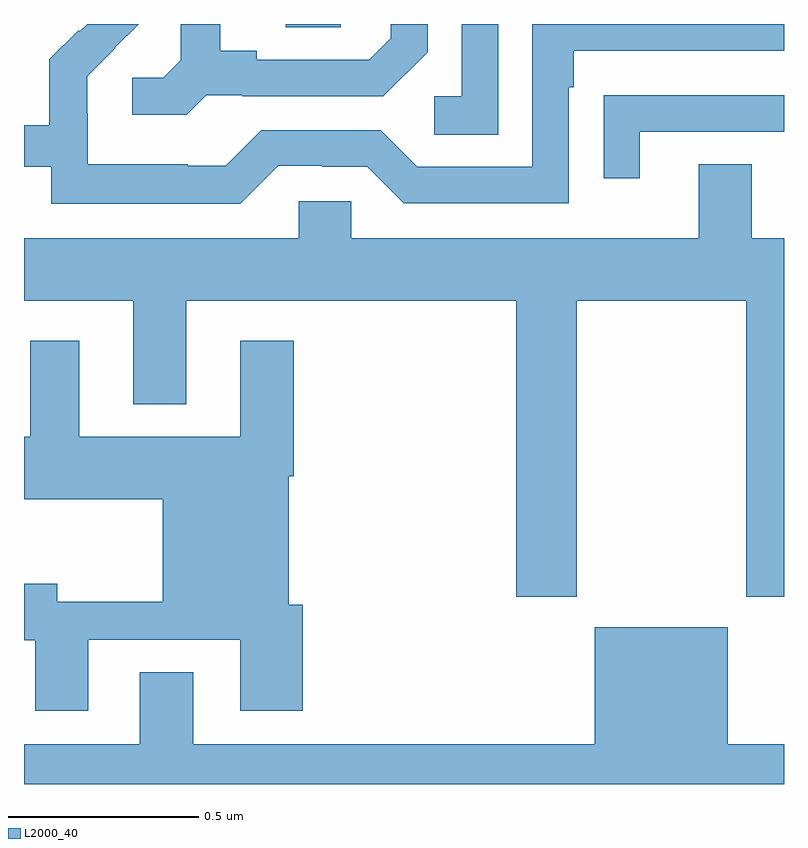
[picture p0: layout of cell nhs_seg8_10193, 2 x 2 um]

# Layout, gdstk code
import gdstk
lib = gdstk.Library(unit=1e-6, precision=1e-09)
def R(c, l, rs):  # rectangles x0, y0, x1, y1
    for r in rs: c.add(gdstk.rectangle(r[:2], r[2:], *l))
def P(c, l, *ps):  # polygons
    for p in ps: c.add(gdstk.Polygon(p, *l))
L2000_40 = (2000, 40)

nhs_seg8_10193 = lib.new_cell('nhs_seg8_10193')
R(nhs_seg8_10193, L2000_40, [(246.689,1111.891,246.834,1111.9)])
P(nhs_seg8_10193, L2000_40, [(247.248,1111.9),(247.152,1111.9),(247.152,1111.71),(247.08,1111.71),(247.08,1111.609),(247.248,1111.609)],
  [(246.48,1111.713),(246.574,1111.713),(246.574,1111.71),(246.946,1111.71),(247.062,1111.826),(247.062,1111.9),(246.965,1111.9),(246.965,1111.863),(246.908,1111.806),(246.613,1111.806),(246.613,1111.829),(246.517,1111.829),(246.517,1111.9),(246.413,1111.9),(246.413,1111.805),(246.366,1111.758),(246.285,1111.758),(246.285,1111.661),(246.428,1111.661)],
  [(246.669,1111.527),(246.785,1111.527),(246.785,1111.524),(246.903,1111.524),(246.999,1111.428),(247.434,1111.428),(247.434,1111.733),(247.447,1111.733),(247.447,1111.83),(248,1111.83),(248,1111.9),(247.338,1111.9),(247.338,1111.524),(247.035,1111.524),(246.939,1111.62),(246.624,1111.62),(246.531,1111.527),(246.431,1111.527),(246.431,1111.531),(246.168,1111.531),(246.168,1111.665),(246.166,1111.665),(246.166,1111.762),(246.24,1111.836),(246.239,1111.837),(246.302,1111.9),(246.166,1111.9),(246.147,1111.881),(246.144,1111.884),(246.067,1111.807),(246.067,1111.633),(246,1111.633),(246,1111.524),(246.072,1111.524),(246.072,1111.427),(246.569,1111.427)],
  [(247.621,1111.617),(248,1111.617),(248,1111.713),(247.627,1111.713),(247.627,1111.712),(247.525,1111.712),(247.525,1111.494),(247.621,1111.494)],
  [(247.455,1111.172),(247.9,1111.172),(247.9,1110.393),(248,1110.393),(248,1111.336),(247.915,1111.336),(247.915,1111.531),(247.775,1111.531),(247.775,1111.336),(246.861,1111.336),(246.861,1111.434),(246.723,1111.434),(246.723,1111.336),(246,1111.336),(246,1111.172),(246.287,1111.172),(246.287,1110.899),(246.427,1110.899),(246.427,1111.172),(247.295,1111.172),(247.295,1110.393),(247.455,1110.393)],
  [(246.169,1110.279),(246.569,1110.279),(246.569,1110.093),(246.734,1110.093),(246.734,1110.372),(246.697,1110.372),(246.697,1110.71),(246.71,1110.71),(246.71,1111.066),(246.569,1111.066),(246.569,1110.814),(246.145,1110.814),(246.145,1111.066),(246.017,1111.066),(246.017,1110.814),(246,1110.814),(246,1110.65),(246.365,1110.65),(246.365,1110.38),(246.088,1110.38),(246.088,1110.427),(246,1110.427),(246,1110.278),(246.029,1110.278),(246.029,1110.093),(246.169,1110.093)],
  [(248,1110.004),(247.852,1110.004),(247.852,1110.313),(247.502,1110.313),(247.502,1110.004),(246.445,1110.004),(246.445,1110.194),(246.305,1110.194),(246.305,1110.004),(246,1110.004),(246,1109.9),(248,1109.9)])

lib.write_gds('nhs_seg8_10193.gds')
